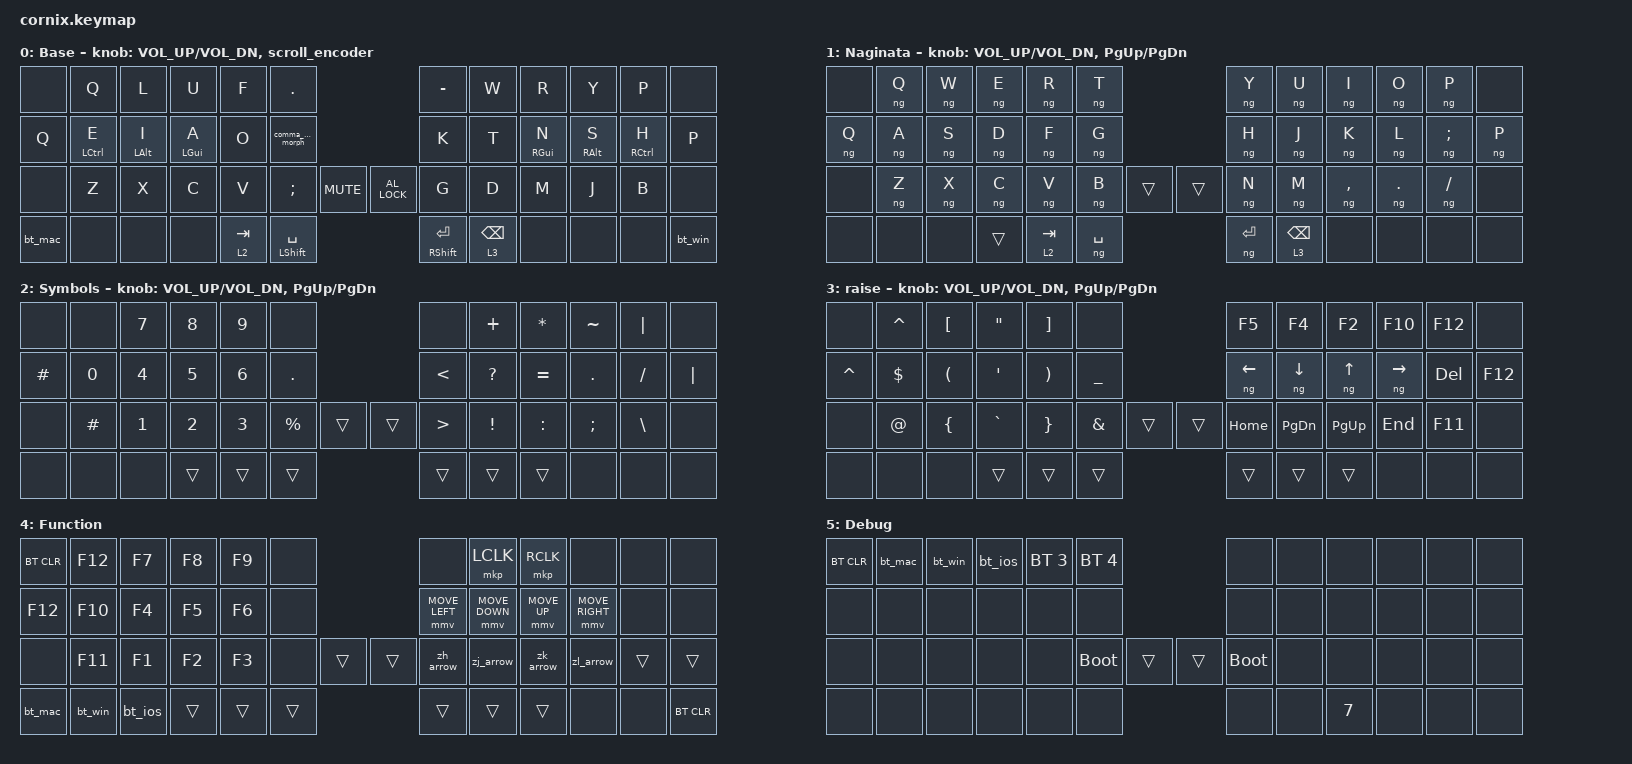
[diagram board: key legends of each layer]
/*
 * Copyright (c) 2020 The ZMK Contributors
 *
 * SPDX-License-Identifier: MIT
 */

#include "zmk-helpers/helper.h"
#include "includes/cornix54.h"
#include <behaviors.dtsi>
#include <dt-bindings/zmk/bt.h>
#include <dt-bindings/zmk/keys.h>

// tap windows for ctl alt and gui

#define HM_TAPPING_TERM_LAYER_TAP 250
#define HM_TAPPING_TERM_MOD 225
#define HM_TAPPING_REPEAT 210

// quick tapping for shift

#define HM_TAPPING_TERM_SHIFT 175
#define HM_PRIOR_IDLE 70
#define HM_PRIOR_IDLE_NG 250
#define BASE 0
#define NAGI 1
#define LOWER 2
#define RAISE 3
#define ADJUST 4
#define DEBUG  5

// https://github.com/urob/zmk-config/tree/main#timeless-homerow-mods

#define KEYS_L LT0 LT1 LT2 LT3 LT4 LT5 LM0 LM1 LM2 LM3 LM4 LM5 LB0 LB1 LB2 LB3 LB4 LB5  // left hand
#define KEYS_R RT0 RT1 RT2 RT3 RT4 RT5 RM0 RM1 RM2 RM3 RM4 RM5 RB0 RB1 RB2 RB3 RB4 RB5  // right hand
#define KEYS_T LH1 LH0 RH0 RH1
#define ZMK_POINTING_DEFAULT_SCRL_VAL 15

#include <dt-bindings/zmk/ext_power.h>
#include <dt-bindings/zmk/pointing.h>
#include <behaviors/naginata.dtsi>

/ {
    // Activate ADJUST layer by pressing raise and lower

    behaviors {
        hm_l: homerow_mods_left {
            compatible = "zmk,behavior-hold-tap";
            #binding-cells = <2>;
            bindings = <&kp>, <&kp>;

            flavor = "tap-preferred";
            tapping-term-ms = <HM_TAPPING_TERM_MOD>;
            quick-tap-ms = <200>;                // repeat on tap-into-hold
            require-prior-idle-ms = <HM_PRIOR_IDLE>;
            hold-trigger-key-positions = <KEYS_R KEYS_T>;
            hold-trigger-on-release;
        };

        hm_r: homerow_mods_right {
            compatible = "zmk,behavior-hold-tap";
            #binding-cells = <2>;
            bindings = <&kp>, <&kp>;

            flavor = "tap-preferred";
            tapping-term-ms = <HM_TAPPING_TERM_MOD>;
            quick-tap-ms = <200>;
            require-prior-idle-ms = <HM_PRIOR_IDLE>;
            hold-trigger-key-positions = <KEYS_L KEYS_T>;
            hold-trigger-on-release;
        };

        // Positional Homerow mods for shift
        // Use faster tapping term and disable some features that may
        // cause false negatives.

        hm_shift_l: hm_shift_l {
            compatible = "zmk,behavior-hold-tap";
            #binding-cells = <2>;
            bindings = <&kp>, <&kp>;

            flavor = "balanced";
            tapping-term-ms = <HM_TAPPING_TERM_SHIFT>;
            quick-tap-ms = <200>;
            require-prior-idle-ms = <HM_PRIOR_IDLE>;
            hold-trigger-key-positions = <KEYS_R KEYS_T>;
            hold-trigger-on-release;
        };

        hm_shift_r: hm_shift_r {
            compatible = "zmk,behavior-hold-tap";
            #binding-cells = <2>;
            bindings = <&kp>, <&kp>;

            flavor = "balanced";
            tapping-term-ms = <HM_TAPPING_TERM_SHIFT>;
            quick-tap-ms = <200>;
            require-prior-idle-ms = <HM_PRIOR_IDLE>;
            hold-trigger-key-positions = <KEYS_L KEYS_T>;

            // for quick tapping; shift+~

            hold-trigger-on-release;
        };

        lt: layer_tap {
            compatible = "zmk,behavior-hold-tap";
            #binding-cells = <2>;
            bindings = <&mo>, <&kp>;

            flavor = "hold-preferred";
            tapping-term-ms = <HM_TAPPING_TERM_LAYER_TAP>;
            quick-tap-ms = <200>;
        };

        scroll_encoder: scroll_encoder {
            compatible = "zmk,behavior-sensor-rotate";
            #sensor-binding-cells = <0>;
            bindings = <&msc SCRL_RIGHT>, <&msc SCRL_LEFT>;
        };

        comma_minus_morph: comma_minus_morph {
            compatible = "zmk,behavior-mod-morph";
            #binding-cells = <0>;
            bindings = <&kp COMMA>, <&kp MINUS>;
            mods = <(MOD_LSFT|MOD_RSFT)>;
        };
    };

    conditional_layers {
        compatible = "zmk,conditional-layers";

        adjust_layer {
            if-layers = <3 2>;
            then-layer = <4>;
        };
    };

    macros {
        ng_on: ng_on {
            compatible = "zmk,behavior-macro";
            #binding-cells = <0>;
            bindings
                = <&macro_tap &kp LANGUAGE_1 &kp INTERNATIONAL_4 &to 1>
                ;
        };
        ng_off: ng_off {
            compatible = "zmk,behavior-macro";
            #binding-cells = <0>;
            bindings
                = <&macro_tap &kp LANGUAGE_2 &kp INTERNATIONAL_5 &to 0>
                ;
        };
        esc_lang2: esc_lang2 {
            compatible = "zmk,behavior-macro";
            #binding-cells = <0>;
            bindings
                = <&macro_tap &kp ESC &kp LANGUAGE_2 &to BASE>
                ;
        };
        bt_mac: bt_mac {
            compatible = "zmk,behavior-macro";
            #binding-cells = <0>;
            bindings = <&macro_tap &bt BT_SEL 0 &ng F16>;
        };
        bt_win: bt_win {
            compatible = "zmk,behavior-macro";
            #binding-cells = <0>;
            bindings = <&macro_tap &bt BT_SEL 1 &ng F15>;
        };
        bt_ios: bt_ios {
            compatible = "zmk,behavior-macro";
            #binding-cells = <0>;
            bindings = <&macro_tap &bt BT_SEL 2 &ng F20>;
        };
        zh_arrow: zh_arrow {
            compatible = "zmk,behavior-macro";
            #binding-cells = <0>;
            bindings = <&macro_tap &kp LANGUAGE_1 &kp Z &kp H &kp ENTER>;
        };
        zj_arrow: zj_arrow {
            compatible = "zmk,behavior-macro";
            #binding-cells = <0>;
            bindings = <&macro_tap &kp LANGUAGE_1 &kp Z &kp J &kp ENTER>;
        };
        zk_arrow: zk_arrow {
            compatible = "zmk,behavior-macro";
            #binding-cells = <0>;
            bindings = <&macro_tap &kp LANGUAGE_1 &kp Z &kp K &kp ENTER>;
        };
        zl_arrow: zl_arrow {
            compatible = "zmk,behavior-macro";
            #binding-cells = <0>;
            bindings = <&macro_tap &kp LANGUAGE_1 &kp Z &kp L &kp ENTER>;
        };

    };

    combos {
        compatible = "zmk,combos";

        cb_ltm {
            bindings = <&esc_lang2>;
            key-positions = <2 4>;
            layers = <0 1>;
        };

        combo_ng_on {
            timeout-ms = <300>;
            key-positions = <18 19>; // H, Jのキー位置に書き換えてください
            bindings = <&ng_on>;
            layers = <BASE>; // デフォルトレイヤーが0の前提
        };
        combo_ng_off {
            timeout-ms = <300>;
            key-positions = <16 17>; // F, Gのキー位置に書き換えてください
            bindings = <&ng_off>;
            layers = <BASE NAGI>; // デフォルトレイヤーが0、薙刀式レイヤーが1の前提
        };

        combo_shift_enter {
            timeout-ms = <300>;
            key-positions = <43 44>; // LH0 + RH0 = 左スペース + 右エンター
            bindings = <&kp LS(ENTER)>;
            layers = <NAGI>;
        };

        combo_capslock {
            timeout-ms = <50>;
            key-positions = <7 9>; // W, Y (大西配列)
            bindings = <&kp CAPS>;
            layers = <BASE>;
        };
    };

    keymap {
        compatible = "zmk,keymap";

        default_layer {
            display-name = "Base";

            bindings = <
&none         &kp Q          &kp L         &kp U         &kp F        &kp DOT                              &kp MINUS              &kp W             &kp R            &kp Y         &kp P          &none
&kp Q         &hm_l LCTRL E  &hm_l LALT I  &hm_l LGUI A  &kp O        &comma_minus_morph                       &kp K                  &kp T             &hm_r RGUI N     &hm_r RALT S  &hm_r RCTRL H  &kp P
&none         &kp Z          &kp X         &kp C         &kp V        &kp SEMI   &kp C_MUTE  &kp C_AL_LOCK &kp G                  &kp D             &kp M            &kp J         &kp B          &none
&bt_mac       &none          &none         &none     &lt 2  TAB   &hm_shift_l  LSHFT SPACE               &hm_shift_r RSHFT ENTER  &lt 3  BACKSPACE  &none            &none         &none          &bt_win
            >;
            sensor-bindings = <&inc_dec_kp C_VOL_UP C_VOL_DN &scroll_encoder>;
        };

        naginata_layer {
            display-name = "Naginata";

            bindings = <
&none  &ng Q  &ng W  &ng E  &ng R        &ng T                     &ng Y      &ng U             &ng I      &ng O    &ng P      &none
&ng Q  &ng A  &ng S  &ng D  &ng F        &ng G                     &ng H      &ng J             &ng K      &ng L    &ng SEMI   &ng P
&none  &ng Z  &ng X  &ng C  &ng V        &ng B     &trans  &trans  &ng N      &ng M             &ng COMMA  &ng DOT  &ng SLASH  &none
&none  &none  &none  &trans &lt 2  TAB   &ng SPACE                 &ng ENTER  &lt 3  BACKSPACE  &none      &none    &none      &none
            >;
            sensor-bindings = <&inc_dec_kp C_VOL_UP C_VOL_DN &inc_dec_kp PG_UP PG_DN>;
        };

        lower_layer {
            display-name = "Symbols";

            bindings = <
&none    &none     &kp N7  &kp N8  &kp N9  &none                      &none   &kp PLUS      &kp ASTRK  &kp TILDE  &kp PIPE        &none 
&kp HASH &kp N0    &kp N4  &kp N5  &kp N6  &kp DOT                    &kp LT  &kp QUESTION  &kp EQUAL  &kp DOT    &kp SLASH       &kp PIPE
&none    &kp HASH  &kp N1  &kp N2  &kp N3  &kp PRCNT  &trans  &trans  &kp GT  &kp EXCL      &kp COLON  &kp SEMI   &kp BACKSLASH   &none
&none    &none     &none   &trans  &trans  &trans                     &trans  &trans        &trans     &none      &none           &none
            >;
            sensor-bindings = <&inc_dec_kp C_VOL_UP C_VOL_DN &inc_dec_kp PG_UP PG_DN>;
        };

        raise_layer {
            display-name = "raise";

            bindings = <
&none      &kp CARET  &kp LBKT  &kp DQT    &kp RBKT  &none                      &kp F5    &kp F4     &kp F2     &kp F10   &kp F12  &none
&kp CARET  &kp DLLR   &kp LPAR  &kp SQT    &kp RPAR  &kp UNDER                  &ng LEFT  &ng DOWN   &ng UP     &ng RIGHT &kp DEL  &kp F12
&none      &kp AT     &kp LBRC  &kp GRAVE  &kp RBRC  &kp AMPS   &trans  &trans  &kp HOME  &kp PG_DN  &kp PG_UP  &kp END   &kp F11  &none
&none      &none      &none     &trans     &trans     &trans                    &trans    &trans     &trans     &none      &none   &none
            >;
            sensor-bindings = <&inc_dec_kp C_VOL_UP C_VOL_DN &inc_dec_kp PG_UP PG_DN>;
        };

        function_layer {
            display-name = "Function";

            bindings = <
&bt BT_CLR     &kp F12        &kp F7         &kp F8         &kp F9         &none                          &none            &mkp LCLK       &mkp RCLK      &none             &none     &none
&kp F12        &kp F10        &kp F4         &kp F5         &kp F6         &none                          &mmv MOVE_LEFT   &mmv MOVE_DOWN  &mmv MOVE_UP   &mmv MOVE_RIGHT   &none     &none
&none          &kp F11        &kp F1         &kp F2         &kp F3         &none        &trans  &trans    &zh_arrow        &zj_arrow       &zk_arrow      &zl_arrow         &trans    &trans
&bt_mac        &bt_win        &bt_ios        &trans         &trans         &trans                         &trans           &trans          &trans         &none             &none     &bt BT_CLR
            >;
        };

        Debug_layer {
            display-name = "Debug";

            bindings = <
&bt BT_CLR  &bt_mac       &bt_win       &bt_ios       &bt BT_SEL 3  &bt BT_SEL 4                  &none        &none  &none   &none  &none  &none
&none       &none         &none         &none         &none         &none                         &none        &none  &none   &none  &none  &none
&none       &none         &none         &none         &none         &bootloader   &trans  &trans  &bootloader  &none  &none   &none  &none  &none
&none       &none         &none         &none         &none         &none                         &none        &none  &kp N7  &none  &none  &none
            >;
        };
    };
};
